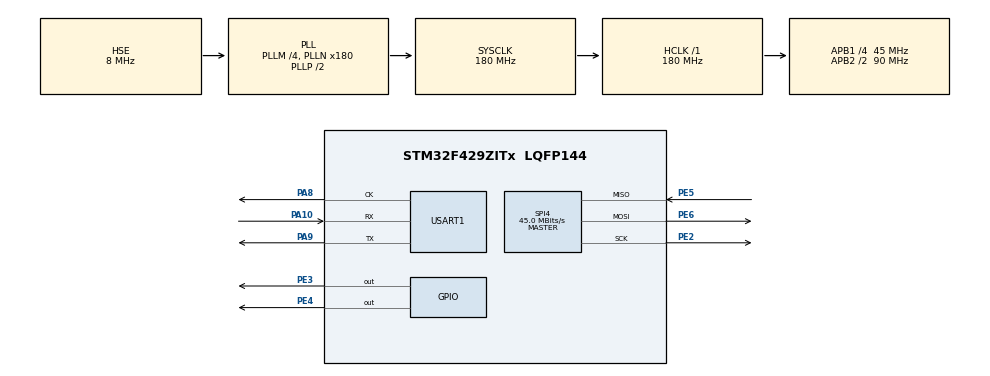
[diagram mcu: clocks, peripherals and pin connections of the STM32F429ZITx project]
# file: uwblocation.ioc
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Mcu.Family=STM32F4
Mcu.Name=STM32F429ZITx
Mcu.Package=LQFP144
NVIC.PriorityGroup=NVIC_PRIORITYGROUP_0
PA10.Mode=Synchronous
PA10.Signal=USART1_RX
PA8.Mode=Synchronous
PA8.Signal=USART1_CK
PA9.Mode=Synchronous
PA9.Signal=USART1_TX
PE2.Mode=Full_Duplex_Master
PE2.Signal=SPI4_SCK
PE3.Signal=GPIO_Output
PE4.Signal=GPIO_Output
PE5.Mode=Full_Duplex_Master
PE5.Signal=SPI4_MISO
PE6.Mode=Full_Duplex_Master
PE6.Signal=SPI4_MOSI
PH0/OSC_IN.Mode=HSE-External-Oscillator
PH0/OSC_IN.Signal=RCC_OSC_IN
PH1/OSC_OUT.Mode=HSE-External-Oscillator
PH1/OSC_OUT.Signal=RCC_OSC_OUT
ProjectManager.HeapSize=0x200
ProjectManager.StackSize=0x400
ProjectManager.TargetToolchain=SW4STM32
RCC.48MHZClocksFreq_Value=51428571.428571425
RCC.AHBFreq_Value=180000000
RCC.APB1CLKDivider=RCC_HCLK_DIV4
RCC.APB1Freq_Value=45000000
RCC.APB1TimFreq_Value=90000000
RCC.APB2CLKDivider=RCC_HCLK_DIV2
RCC.APB2Freq_Value=90000000
RCC.APB2TimFreq_Value=180000000
RCC.CortexFreq_Value=180000000
RCC.HCLKFreq_Value=180000000
RCC.HSE_VALUE=8000000
RCC.HSI_VALUE=16000000
RCC.LSE_VALUE=32768
RCC.PLLM=4
RCC.PLLN=180
RCC.PLLQ=7
RCC.PLLSourceVirtual=RCC_PLLSOURCE_HSE
RCC.SYSCLKFreq_VALUE=180000000
RCC.SYSCLKSource=RCC_SYSCLKSOURCE_PLLCLK
RCC.VCOOutputFreq_Value=360000000
SPI4.CalculateBaudRate=45.0 MBits/s
SPI4.Direction=SPI_DIRECTION_2LINES
SPI4.Mode=SPI_MODE_MASTER
SPI4.VirtualType=VM_MASTER
USART1.VirtualMode=VM_SYNC
board=32F429IDISCOVERY

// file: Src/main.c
/**
  ******************************************************************************
  * @file           : main.c
  * @brief          : Main program body
  ******************************************************************************
  ** This notice applies to any and all portions of this file
  * that are not between comment pairs USER CODE BEGIN and
  * USER CODE END. Other portions of this file, whether
  * inserted by the user or by software development tools
  * are owned by their respective copyright owners.
  *
  * COPYRIGHT(c) 2018 STMicroelectronics
  *
  * Redistribution and use in source and binary forms, with or without modification,
  * are permitted provided that the following conditions are met:
  *   1. Redistributions of source code must retain the above copyright notice,
  *      this list of conditions and the following disclaimer.
  *   2. Redistributions in binary form must reproduce the above copyright notice,
  *      this list of conditions and the following disclaimer in the documentation
  *      and/or other materials provided with the distribution.
  *   3. Neither the name of STMicroelectronics nor the names of its contributors
  *      may be used to endorse or promote products derived from this software
  *      without specific prior written permission.
  *
  * THIS SOFTWARE IS PROVIDED BY THE COPYRIGHT HOLDERS AND CONTRIBUTORS "AS IS"
  * AND ANY EXPRESS OR IMPLIED WARRANTIES, INCLUDING, BUT NOT LIMITED TO, THE
  * IMPLIED WARRANTIES OF MERCHANTABILITY AND FITNESS FOR A PARTICULAR PURPOSE ARE
  * DISCLAIMED. IN NO EVENT SHALL THE COPYRIGHT HOLDER OR CONTRIBUTORS BE LIABLE
  * FOR ANY DIRECT, INDIRECT, INCIDENTAL, SPECIAL, EXEMPLARY, OR CONSEQUENTIAL
  * DAMAGES (INCLUDING, BUT NOT LIMITED TO, PROCUREMENT OF SUBSTITUTE GOODS OR
  * SERVICES; LOSS OF USE, DATA, OR PROFITS; OR BUSINESS INTERRUPTION) HOWEVER
  * CAUSED AND ON ANY THEORY OF LIABILITY, WHETHER IN CONTRACT, STRICT LIABILITY,
  * OR TORT (INCLUDING NEGLIGENCE OR OTHERWISE) ARISING IN ANY WAY OUT OF THE USE
  * OF THIS SOFTWARE, EVEN IF ADVISED OF THE POSSIBILITY OF SUCH DAMAGE.
  *
  ******************************************************************************
  */
#include "port.h"
#include "stm32f4xx_hal.h"

/* USER CODE BEGIN Includes */
#include "deca_device_api.h"
#include "deca_regs.h"
#include <string.h>
#include "Uprint-Util.h"
/* USER CODE END Includes */

SPI_HandleTypeDef hspi4;

USART_HandleTypeDef husart1;

/* USER CODE BEGIN PV */
/* Private variables ---------------------------------------------------------*/

/* USER CODE END PV */

void SystemClock_Config(void);
static void MX_GPIO_Init(void);
static void MX_SPI4_Init(void);
static void MX_USART1_Init(void);

/* USER CODE BEGIN PFP */
/* Private function prototypes -----------------------------------------------*/

/* USER CODE END PFP */

/* USER CODE BEGIN 0 */
/* Inter-ranging delay period, in milliseconds. */
#define RNG_DELAY_MS 1000

/* Default communication configuration. We use here EVK1000's mode 4. See NOTE 1 below. */
static dwt_config_t config = {
        2,               /* Channel number. */
        DWT_PRF_64M,     /* Pulse repetition frequency. */
        DWT_PLEN_128,    /* Preamble length. Used in TX only. */
        DWT_PAC8,        /* Preamble acquisition chunk size. Used in RX only. */
        9,               /* TX preamble code. Used in TX only. */
        9,               /* RX preamble code. Used in RX only. */
        0,               /* 0 to use standard SFD, 1 to use non-standard SFD. */
        DWT_BR_6M8,      /* Data rate. */
        DWT_PHRMODE_STD, /* PHY header mode. */
        (129 + 8 - 8)    /* SFD timeout (preamble length + 1 + SFD length - PAC size). Used in RX only. */
};

/* Default antenna delay values for 64 MHz PRF. See NOTE 2 below. */
#define TX_ANT_DLY 16436
#define RX_ANT_DLY 16436

/* Frames used in the ranging process. See NOTE 3 below. */
static uint8 tx_poll_msg[] = {0x41, 0x88, 0, 0xCA, 0xDE, 'W', 'A', 'V', 'E', 0xE0, 0, 0};
static uint8 rx_resp_msg[] = {0x41, 0x88, 0, 0xCA, 0xDE, 'V', 'E', 'W', 'A', 0xE1, 0, 0, 0, 0, 0, 0, 0, 0, 0, 0};
/* Length of the common part of the message (up to and including the function code, see NOTE 3 below). */
#define ALL_MSG_COMMON_LEN 10
/* Indexes to access some of the fields in the frames defined above. */
#define ALL_MSG_SN_IDX 2
#define RESP_MSG_POLL_RX_TS_IDX 10
#define RESP_MSG_RESP_TX_TS_IDX 14
#define RESP_MSG_TS_LEN 4
/* Frame sequence number, incremented after each transmission. */
static uint8 frame_seq_nb = 0;

/* Buffer to store received response message.
 * Its size is adjusted to longest frame that this example code is supposed to handle. */
#define RX_BUF_LEN 20
static uint8 rx_buffer[RX_BUF_LEN];

/* Hold copy of status register state here for reference so that it can be examined at a debug breakpoint. */
static uint32 status_reg = 0;

/* UWB microsecond (uus) to device time unit (dtu, around 15.65 ps) conversion factor.
 * 1 uus = 512 / 499.2 µs and 1 µs = 499.2 * 128 dtu. */
#define UUS_TO_DWT_TIME 65536

/* Delay between frames, in UWB microseconds. See NOTE 1 below. */
#define POLL_TX_TO_RESP_RX_DLY_UUS 140
/* Receive response timeout. See NOTE 5 below. */
#define RESP_RX_TIMEOUT_UUS 800

/* Speed of light in air, in metres per second. */
#define SPEED_OF_LIGHT 299702547

/* Hold copies of computed time of flight and distance here for reference so that it can be examined at a debug breakpoint. */
static double tof;
static double distance;

/* String used to display measured distance on LCD screen (16 characters maximum). */
char dist_str[16] = {0};

/* Declaration of static functions. */
static void resp_msg_get_ts(uint8 *ts_field, uint32 *ts);

/* USER CODE END 0 */

int main(void)
{
  /* USER CODE BEGIN 1 */
    int32  devid = 0;
    int ret;
    int32_t i=0;

    // uint8  ret = 0;
  /* USER CODE END 1 */

  /* MCU Configuration----------------------------------------------------------*/

  /* Reset of all peripherals, Initializes the Flash interface and the Systick. */
  HAL_Init();

  /* Configure the system clock */
  SystemClock_Config();

  /* Initialize all configured peripherals */
  MX_GPIO_Init();
  MX_SPI4_Init();
  MX_USART1_Init();
  /* USER CODE BEGIN 2 */
    deca_sleep(2);
    reset_DW1000();
    deca_sleep(2);
    devid=dwt_readdevid();
    uprintf(&husart1,"devid %08x\n",devid);
    port_set_dw1000_slowrate();
    if (dwt_initialise(DWT_LOADNONE) == DWT_ERROR)
    {
        while (1)
        {

        };
    }
    port_set_dw1000_fastrate();
    dwt_configure(&config);

    dwt_setrxantennadelay(RX_ANT_DLY);
    dwt_settxantennadelay(TX_ANT_DLY);

    dwt_setrxaftertxdelay(POLL_TX_TO_RESP_RX_DLY_UUS);
    dwt_setrxtimeout(RESP_RX_TIMEOUT_UUS);
  /* USER CODE END 2 */

  /* Infinite loop */
    while (1)
    {

  /* USER CODE BEGIN 3 */
        /* Write frame data to DW1000 and prepare transmission. See NOTE 7 below. */
        tx_poll_msg[ALL_MSG_SN_IDX] = frame_seq_nb;
        dwt_write32bitreg(SYS_STATUS_ID, SYS_STATUS_TXFRS);
        dwt_writetxdata(sizeof(tx_poll_msg), tx_poll_msg, 0); /* Zero offset in TX buffer. */
        dwt_writetxfctrl(sizeof(tx_poll_msg), 0, 1); /* Zero offset in TX buffer, ranging. */

        /* Start transmission, indicating that a response is expected so that reception is enabled automatically after the frame is sent and the delay
         * set by dwt_setrxaftertxdelay() has elapsed. */
        dwt_starttx(DWT_START_TX_IMMEDIATE | DWT_RESPONSE_EXPECTED);

        /* We assume that the transmission is achieved correctly, poll for reception of a frame or error/timeout. See NOTE 8 below. */
        while (!((status_reg = dwt_read32bitreg(SYS_STATUS_ID)) & (SYS_STATUS_RXFCG | SYS_STATUS_ALL_RX_TO | SYS_STATUS_ALL_RX_ERR)))
        {

        };

        /* Increment frame sequence number after transmission of the poll message (modulo 256). */
        frame_seq_nb++;

        if (status_reg & SYS_STATUS_RXFCG)
        {
            uint32 frame_len;

            /* Clear good RX frame event in the DW1000 status register. */
            dwt_write32bitreg(SYS_STATUS_ID, SYS_STATUS_RXFCG);

            /* A frame has been received, read it into the local buffer. */
            frame_len = dwt_read32bitreg(RX_FINFO_ID) & RX_FINFO_RXFLEN_MASK;
            if (frame_len <= RX_BUF_LEN)
            {
                dwt_readrxdata(rx_buffer, frame_len, 0);
            }

            /* Check that the frame is the expected response from the companion "SS TWR responder" example.
             * As the sequence number field of the frame is not relevant, it is cleared to simplify the validation of the frame. */
            rx_buffer[ALL_MSG_SN_IDX] = 0;
            if (memcmp(rx_buffer, rx_resp_msg, ALL_MSG_COMMON_LEN) == 0)
            {
                uint32 poll_tx_ts, resp_rx_ts, poll_rx_ts, resp_tx_ts;
                int32 rtd_init, rtd_resp;

                /* Retrieve poll transmission and response reception timestamps. See NOTE 9 below. */
                poll_tx_ts = dwt_readtxtimestamplo32();
                resp_rx_ts = dwt_readrxtimestamplo32();

                /* Get timestamps embedded in response message. */
                resp_msg_get_ts(&rx_buffer[RESP_MSG_POLL_RX_TS_IDX], &poll_rx_ts);
                resp_msg_get_ts(&rx_buffer[RESP_MSG_RESP_TX_TS_IDX], &resp_tx_ts);

                /* Compute time of flight and distance. */
                rtd_init = resp_rx_ts - poll_tx_ts;
                rtd_resp = resp_tx_ts - poll_rx_ts;

                tof = ((rtd_init - rtd_resp) / 2.0) * DWT_TIME_UNITS;
                distance = tof * SPEED_OF_LIGHT;

                /* Display computed distance on LCD. */
                uprintf(&husart1, "DIST: %3.2f m", distance);
            }
        }
        else
        {
            /* Clear RX error/timeout events in the DW1000 status register. */
            dwt_write32bitreg(SYS_STATUS_ID, SYS_STATUS_ALL_RX_TO | SYS_STATUS_ALL_RX_ERR);

            /* Reset RX to properly reinitialise LDE operation. */
            dwt_rxreset();
        }

        /* Execute a delay between ranging exchanges. */
        deca_sleep(RNG_DELAY_MS);

    }
  /* USER CODE END 3 */

}

void SystemClock_Config(void)
{

  RCC_OscInitTypeDef RCC_OscInitStruct;
  RCC_ClkInitTypeDef RCC_ClkInitStruct;

    /**Configure the main internal regulator output voltage
    */
  __HAL_RCC_PWR_CLK_ENABLE();

  __HAL_PWR_VOLTAGESCALING_CONFIG(PWR_REGULATOR_VOLTAGE_SCALE1);

    /**Initializes the CPU, AHB and APB busses clocks
    */
  RCC_OscInitStruct.OscillatorType = RCC_OSCILLATORTYPE_HSE;
  RCC_OscInitStruct.HSEState = RCC_HSE_ON;
  RCC_OscInitStruct.PLL.PLLState = RCC_PLL_ON;
  RCC_OscInitStruct.PLL.PLLSource = RCC_PLLSOURCE_HSE;
  RCC_OscInitStruct.PLL.PLLM = 4;
  RCC_OscInitStruct.PLL.PLLN = 180;
  RCC_OscInitStruct.PLL.PLLP = RCC_PLLP_DIV2;
  RCC_OscInitStruct.PLL.PLLQ = 7;
  if (HAL_RCC_OscConfig(&RCC_OscInitStruct) != HAL_OK)
  {
    _Error_Handler(__FILE__, __LINE__);
  }

    /**Activate the Over-Drive mode
    */
  if (HAL_PWREx_EnableOverDrive() != HAL_OK)
  {
    _Error_Handler(__FILE__, __LINE__);
  }

    /**Initializes the CPU, AHB and APB busses clocks
    */
  RCC_ClkInitStruct.ClockType = RCC_CLOCKTYPE_HCLK|RCC_CLOCKTYPE_SYSCLK
                              |RCC_CLOCKTYPE_PCLK1|RCC_CLOCKTYPE_PCLK2;
  RCC_ClkInitStruct.SYSCLKSource = RCC_SYSCLKSOURCE_PLLCLK;
  RCC_ClkInitStruct.AHBCLKDivider = RCC_SYSCLK_DIV1;
  RCC_ClkInitStruct.APB1CLKDivider = RCC_HCLK_DIV4;
  RCC_ClkInitStruct.APB2CLKDivider = RCC_HCLK_DIV2;

  if (HAL_RCC_ClockConfig(&RCC_ClkInitStruct, FLASH_LATENCY_5) != HAL_OK)
  {
    _Error_Handler(__FILE__, __LINE__);
  }

    /**Configure the Systick interrupt time
    */
  HAL_SYSTICK_Config(HAL_RCC_GetHCLKFreq()/1000);

    /**Configure the Systick
    */
  HAL_SYSTICK_CLKSourceConfig(SYSTICK_CLKSOURCE_HCLK);

  /* SysTick_IRQn interrupt configuration */
  HAL_NVIC_SetPriority(SysTick_IRQn, 0, 0);
}

/* SPI4 init function */
static void MX_SPI4_Init(void)
{

  /* SPI4 parameter configuration*/
  hspi4.Instance = SPI4;
  hspi4.Init.Mode = SPI_MODE_MASTER;
  hspi4.Init.Direction = SPI_DIRECTION_2LINES;
  hspi4.Init.DataSize = SPI_DATASIZE_8BIT;
  hspi4.Init.CLKPolarity = SPI_POLARITY_LOW;
  hspi4.Init.CLKPhase = SPI_PHASE_1EDGE;
  hspi4.Init.NSS = SPI_NSS_SOFT;
  hspi4.Init.BaudRatePrescaler = SPI_BAUDRATEPRESCALER_2;
  hspi4.Init.FirstBit = SPI_FIRSTBIT_MSB;
  hspi4.Init.TIMode = SPI_TIMODE_DISABLE;
  hspi4.Init.CRCCalculation = SPI_CRCCALCULATION_DISABLE;
  hspi4.Init.CRCPolynomial = 10;
  if (HAL_SPI_Init(&hspi4) != HAL_OK)
  {
    _Error_Handler(__FILE__, __LINE__);
  }

}

/* USART1 init function */
static void MX_USART1_Init(void)
{

  husart1.Instance = USART1;
  husart1.Init.BaudRate = 115200;
  husart1.Init.WordLength = USART_WORDLENGTH_8B;
  husart1.Init.StopBits = USART_STOPBITS_1;
  husart1.Init.Parity = USART_PARITY_NONE;
  husart1.Init.Mode = USART_MODE_TX_RX;
  husart1.Init.CLKPolarity = USART_POLARITY_LOW;
  husart1.Init.CLKPhase = USART_PHASE_1EDGE;
  husart1.Init.CLKLastBit = USART_LASTBIT_DISABLE;
  if (HAL_USART_Init(&husart1) != HAL_OK)
  {
    _Error_Handler(__FILE__, __LINE__);
  }

}

/** Configure pins as
        * Analog
        * Input
        * Output
        * EVENT_OUT
        * EXTI
*/
static void MX_GPIO_Init(void)
{

  GPIO_InitTypeDef GPIO_InitStruct;

  /* GPIO Ports Clock Enable */
  __HAL_RCC_GPIOE_CLK_ENABLE();
  __HAL_RCC_GPIOH_CLK_ENABLE();
  __HAL_RCC_GPIOA_CLK_ENABLE();

  /*Configure GPIO pin Output Level */
  HAL_GPIO_WritePin(GPIOE, GPIO_PIN_3|GPIO_PIN_4, GPIO_PIN_RESET);

  /*Configure GPIO pins : PE3 PE4 */
  GPIO_InitStruct.Pin = GPIO_PIN_3|GPIO_PIN_4;
  GPIO_InitStruct.Mode = GPIO_MODE_OUTPUT_PP;
  GPIO_InitStruct.Pull = GPIO_NOPULL;
  GPIO_InitStruct.Speed = GPIO_SPEED_FREQ_LOW;
  HAL_GPIO_Init(GPIOE, &GPIO_InitStruct);

}

/* USER CODE BEGIN 4 */
static uint64_t get_rx_timestamp_u64(void)
{
    uint8 ts_tab[5];
    uint64_t ts = 0;
    int i;
    dwt_readrxtimestamp(ts_tab);
    for (i = 4; i >= 0; i--)
    {
        ts <<= 8;
        ts |= ts_tab[i];
    }
    return ts;
}

/*! ------------------------------------------------------------------------------------------------------------------
 * @fn final_msg_set_ts()
 *
 * @brief Fill a given timestamp field in the response message with the given value. In the timestamp fields of the
 *        response message, the least significant byte is at the lower address.
 *
 * @param  ts_field  pointer on the first byte of the timestamp field to fill
 *         ts  timestamp value
 *
 * @return none
 */
static void resp_msg_set_ts(uint8 *ts_field, const uint64_t ts)
{
    int i;
    for (i = 0; i < RESP_MSG_TS_LEN; i++)
    {
        ts_field[i] = (ts >> (i * 8)) & 0xFF;
    }
}

/* USER CODE END 4 */

void _Error_Handler(char *file, int line)
{
    while(1)
    {
    }
}

static void resp_msg_get_ts(uint8 *ts_field, uint32 *ts)
{
    int i;
    *ts = 0;
    for (i = 0; i < RESP_MSG_TS_LEN; i++)
    {
        *ts += ts_field[i] << (i * 8);
    }
}

/************************ (C) COPYRIGHT STMicroelectronics *****END OF FILE****/
